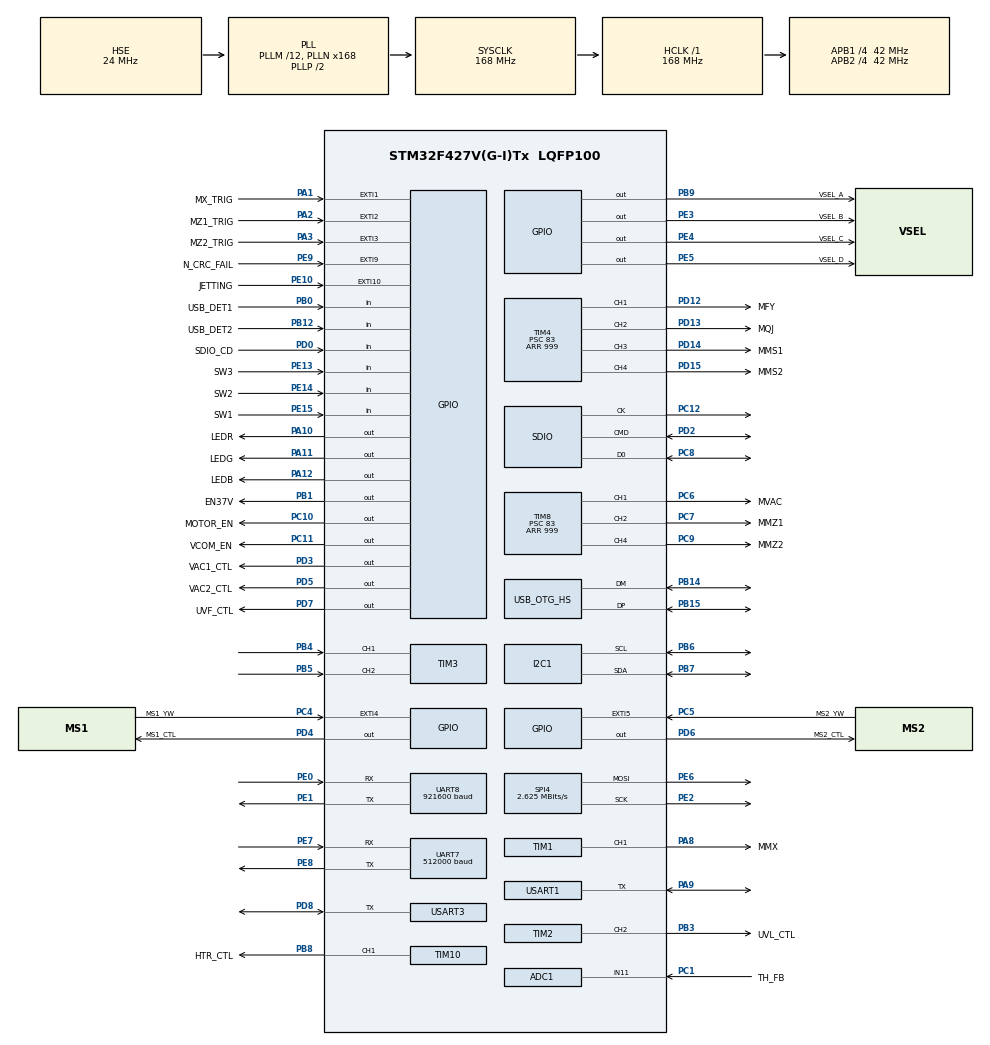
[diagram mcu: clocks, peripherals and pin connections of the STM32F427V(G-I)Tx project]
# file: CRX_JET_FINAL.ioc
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ADC1.Channel-7\#ChannelRegularConversion=ADC_CHANNEL_11
ADC1.ContinuousConvMode=DISABLE
ADC1.ExternalTrigConv=ADC_SOFTWARE_START
ADC1.NbrOfConversion=1
ADC1.NbrOfConversionFlag=1
ADC1.Rank-7\#ChannelRegularConversion=1
ADC1.SamplingTime-7\#ChannelRegularConversion=ADC_SAMPLETIME_84CYCLES
ADC1.master=1
Dma.Request0=SDIO_RX
Dma.Request1=SDIO_TX
Dma.Request2=UART7_TX
Dma.Request3=UART8_RX
Dma.Request4=UART8_TX
Dma.SDIO_RX.0.Direction=DMA_PERIPH_TO_MEMORY
Dma.SDIO_RX.0.FIFOMode=DMA_FIFOMODE_ENABLE
Dma.SDIO_RX.0.FIFOThreshold=DMA_FIFO_THRESHOLD_FULL
Dma.SDIO_RX.0.Instance=DMA2_Stream3
Dma.SDIO_RX.0.MemBurst=DMA_MBURST_INC4
Dma.SDIO_RX.0.MemDataAlignment=DMA_MDATAALIGN_WORD
Dma.SDIO_RX.0.MemInc=DMA_MINC_ENABLE
Dma.SDIO_RX.0.Mode=DMA_PFCTRL
Dma.SDIO_RX.0.PeriphBurst=DMA_PBURST_INC4
Dma.SDIO_RX.0.PeriphDataAlignment=DMA_PDATAALIGN_WORD
Dma.SDIO_RX.0.PeriphInc=DMA_PINC_DISABLE
Dma.SDIO_RX.0.Priority=DMA_PRIORITY_LOW
Dma.SDIO_TX.1.Direction=DMA_MEMORY_TO_PERIPH
Dma.SDIO_TX.1.FIFOMode=DMA_FIFOMODE_ENABLE
Dma.SDIO_TX.1.FIFOThreshold=DMA_FIFO_THRESHOLD_FULL
Dma.SDIO_TX.1.Instance=DMA2_Stream6
Dma.SDIO_TX.1.MemBurst=DMA_MBURST_INC4
Dma.SDIO_TX.1.MemDataAlignment=DMA_MDATAALIGN_WORD
Dma.SDIO_TX.1.MemInc=DMA_MINC_ENABLE
Dma.SDIO_TX.1.Mode=DMA_PFCTRL
Dma.SDIO_TX.1.PeriphBurst=DMA_PBURST_INC4
Dma.SDIO_TX.1.PeriphDataAlignment=DMA_PDATAALIGN_WORD
Dma.SDIO_TX.1.PeriphInc=DMA_PINC_DISABLE
Dma.SDIO_TX.1.Priority=DMA_PRIORITY_LOW
Dma.UART7_TX.2.Direction=DMA_MEMORY_TO_PERIPH
Dma.UART7_TX.2.FIFOMode=DMA_FIFOMODE_DISABLE
Dma.UART7_TX.2.Instance=DMA1_Stream1
Dma.UART7_TX.2.MemDataAlignment=DMA_MDATAALIGN_BYTE
Dma.UART7_TX.2.MemInc=DMA_MINC_ENABLE
Dma.UART7_TX.2.Mode=DMA_NORMAL
Dma.UART7_TX.2.PeriphDataAlignment=DMA_PDATAALIGN_BYTE
Dma.UART7_TX.2.PeriphInc=DMA_PINC_DISABLE
Dma.UART7_TX.2.Priority=DMA_PRIORITY_LOW
Dma.UART8_RX.3.Direction=DMA_PERIPH_TO_MEMORY
Dma.UART8_RX.3.FIFOMode=DMA_FIFOMODE_DISABLE
Dma.UART8_RX.3.Instance=DMA1_Stream6
Dma.UART8_RX.3.MemDataAlignment=DMA_MDATAALIGN_BYTE
Dma.UART8_RX.3.MemInc=DMA_MINC_ENABLE
Dma.UART8_RX.3.Mode=DMA_NORMAL
Dma.UART8_RX.3.PeriphDataAlignment=DMA_PDATAALIGN_BYTE
Dma.UART8_RX.3.PeriphInc=DMA_PINC_DISABLE
Dma.UART8_RX.3.Priority=DMA_PRIORITY_LOW
Dma.UART8_TX.4.Direction=DMA_MEMORY_TO_PERIPH
Dma.UART8_TX.4.FIFOMode=DMA_FIFOMODE_DISABLE
Dma.UART8_TX.4.Instance=DMA1_Stream0
Dma.UART8_TX.4.MemDataAlignment=DMA_MDATAALIGN_BYTE
Dma.UART8_TX.4.MemInc=DMA_MINC_ENABLE
Dma.UART8_TX.4.Mode=DMA_NORMAL
Dma.UART8_TX.4.PeriphDataAlignment=DMA_PDATAALIGN_BYTE
Dma.UART8_TX.4.PeriphInc=DMA_PINC_DISABLE
Dma.UART8_TX.4.Priority=DMA_PRIORITY_LOW
FATFS.BSP.number=1
FATFS._CODE_PAGE=936
FATFS._FS_EXFAT=1
FATFS._FS_NORTC=0
FATFS._USE_LFN=2
FATFS0.BSP.STBoard=false
FATFS0.BSP.api=Unknown
FATFS0.BSP.instance=PD0
FATFS0.BSP.ip=GPIO
FATFS0.BSP.mode=Input
FATFS0.BSP.name=Detect_SDIO
FATFS0.BSP.solution=PD0
FREERTOS.Mutexes01=MUart1Mutex,Dynamic,NULL,Available;MTim8Mutex,Dynamic,NULL,Available
FREERTOS.Tasks01=defaultTask,32,512,StartDefaultTask,Default,NULL,Dynamic,NULL,NULL;motorTask,24,128,StartMotorTask,As external,NULL,Dynamic,NULL,NULL;pumpTask,24,128,StartPumpTask,As external,NULL,Dynamic,NULL,NULL;vacTask,24,128,StartVacTask,As external,NULL,Dynamic,NULL,NULL;jettingTask,24,128,StartJettingTask,As external,NULL,Dynamic,NULL,NULL;headerTask,24,128,StartHeaderTask,As external,NULL,Dynamic,NULL,NULL;sensorTask,8,128,StartSensorTask,As external,NULL,Dynamic,NULL,NULL
I2C1.I2C_Mode=I2C_Standard
Mcu.Family=STM32F4
Mcu.Name=STM32F427V(G-I)Tx
Mcu.Package=LQFP100
Mcu.UserConstants=JETTING_FPGA_REPLY,16;ALL_EMG_STOP,1;JETTING_UART_CPLT,8;ALL_NEW_TASK,4;MAIN_TASK_CPLT,4
NVIC.ADC_IRQn=true\:5\:0\:false\:false\:true\:true\:true\:true\:true
NVIC.DMA1_Stream0_IRQn=true\:5\:0\:false\:false\:true\:true\:false\:true\:true
NVIC.DMA1_Stream1_IRQn=true\:5\:0\:false\:false\:true\:true\:false\:true\:true
NVIC.DMA1_Stream6_IRQn=true\:5\:0\:false\:false\:true\:true\:false\:true\:true
NVIC.DMA2_Stream3_IRQn=true\:5\:0\:false\:false\:true\:true\:false\:true\:true
NVIC.DMA2_Stream6_IRQn=true\:5\:0\:false\:false\:true\:true\:false\:true\:true
NVIC.EXTI15_10_IRQn=true\:5\:0\:false\:false\:true\:true\:true\:true\:true
NVIC.EXTI1_IRQn=true\:5\:0\:false\:false\:true\:true\:true\:true\:true
NVIC.EXTI2_IRQn=true\:5\:0\:false\:false\:true\:true\:true\:true\:true
NVIC.EXTI3_IRQn=true\:5\:0\:false\:false\:true\:true\:true\:true\:true
NVIC.EXTI4_IRQn=true\:5\:0\:false\:false\:true\:true\:true\:true\:true
NVIC.EXTI9_5_IRQn=true\:5\:0\:true\:false\:true\:true\:true\:true\:true
NVIC.OTG_HS_IRQn=true\:5\:0\:false\:false\:true\:true\:false\:true\:true
NVIC.PriorityGroup=NVIC_PRIORITYGROUP_4
NVIC.SDIO_IRQn=true\:5\:0\:false\:false\:true\:true\:true\:true\:true
NVIC.TIM1_UP_TIM10_IRQn=true\:5\:0\:false\:false\:true\:true\:true\:false\:true
NVIC.TIM4_IRQn=true\:5\:0\:false\:false\:true\:true\:true\:false\:true
NVIC.TIM7_IRQn=true\:15\:0\:false\:false\:true\:false\:false\:false\:true
NVIC.TIM8_UP_TIM13_IRQn=true\:5\:0\:false\:false\:true\:true\:true\:false\:true
NVIC.TimeBase=TIM7_IRQn
NVIC.TimeBaseIP=TIM7
NVIC.UART7_IRQn=true\:5\:0\:false\:false\:true\:true\:true\:true\:true
NVIC.UART8_IRQn=true\:5\:0\:false\:false\:true\:true\:true\:true\:true
PA1.GPIO_Label=MX_TRIG
PA1.GPIO_ModeDefaultEXTI=GPIO_MODE_IT_RISING
PA1.GPIO_PuPd=GPIO_NOPULL
PA1.Signal=GPXTI1
PA10.GPIO_Label=LEDR
PA10.GPIO_ModeDefaultOutputPP=GPIO_MODE_OUTPUT_OD
PA10.GPIO_PuPd=GPIO_PULLUP
PA10.PinState=GPIO_PIN_SET
PA10.Signal=GPIO_Output
PA11.GPIO_Label=LEDG
PA11.GPIO_ModeDefaultOutputPP=GPIO_MODE_OUTPUT_OD
PA11.GPIO_PuPd=GPIO_PULLUP
PA11.PinState=GPIO_PIN_SET
PA11.Signal=GPIO_Output
PA12.GPIO_Label=LEDB
PA12.GPIO_ModeDefaultOutputPP=GPIO_MODE_OUTPUT_OD
PA12.GPIO_PuPd=GPIO_PULLUP
PA12.PinState=GPIO_PIN_SET
PA12.Signal=GPIO_Output
PA13.Mode=Serial_Wire
PA13.Signal=SYS_JTMS-SWDIO
PA14.Mode=Serial_Wire
PA14.Signal=SYS_JTCK-SWCLK
PA2.GPIO_Label=MZ1_TRIG
PA2.GPIO_ModeDefaultEXTI=GPIO_MODE_IT_RISING
PA2.GPIO_PuPd=GPIO_NOPULL
PA2.Signal=GPXTI2
PA3.GPIO_Label=MZ2_TRIG
PA3.GPIO_ModeDefaultEXTI=GPIO_MODE_IT_RISING
PA3.GPIO_PuPd=GPIO_NOPULL
PA3.Signal=GPXTI3
PA8.GPIO_Label=MMX
PA8.Signal=S_TIM1_CH1
PA9.GPIO_ModeDefaultOD=GPIO_MODE_AF_PP
PA9.GPIO_PuPd=GPIO_PULLUP
PA9.Mode=Half_duplex(single_wire_mode)
PA9.Signal=USART1_TX
PB0.GPIO_Label=USB_DET1
PB0.Signal=GPIO_Input
PB1.GPIO_Label=EN37V
PB1.GPIO_PuPd=GPIO_PULLDOWN
PB1.Signal=GPIO_Output
PB12.GPIO_Label=USB_DET2
PB12.Signal=GPIO_Input
PB14.Mode=Device_Only_FS
PB14.Signal=USB_OTG_HS_DM
PB15.Mode=Device_Only_FS
PB15.Signal=USB_OTG_HS_DP
PB3.GPIO_Label=UVL_CTL
PB3.Signal=S_TIM2_CH2
PB4.Signal=S_TIM3_CH1
PB5.Signal=S_TIM3_CH2
PB6.Mode=I2C
PB6.Signal=I2C1_SCL
PB7.Mode=I2C
PB7.Signal=I2C1_SDA
PB8.GPIO_Label=HTR_CTL
PB8.Signal=S_TIM10_CH1
PB9.GPIO_Label=VSEL_A
PB9.GPIO_PuPd=GPIO_PULLUP
PB9.PinState=GPIO_PIN_SET
PB9.Signal=GPIO_Output
PC1.GPIO_Label=TH_FB
PC1.Signal=ADCx_IN11
PC10.GPIO_Label=MOTOR_EN
PC10.Signal=GPIO_Output
PC11.GPIO_Label=VCOM_EN
PC11.Signal=GPIO_Output
PC12.Mode=SD_1_bit
PC12.Signal=SDIO_CK
PC4.GPIO_Label=MS1_YW
PC4.GPIO_ModeDefaultEXTI=GPIO_MODE_IT_FALLING
PC4.GPIO_PuPd=GPIO_PULLDOWN
PC4.Signal=GPXTI4
PC5.GPIO_Label=MS2_YW
PC5.GPIO_ModeDefaultEXTI=GPIO_MODE_IT_FALLING
PC5.GPIO_PuPd=GPIO_PULLDOWN
PC5.Signal=GPXTI5
PC6.GPIO_Label=MVAC
PC6.Signal=S_TIM8_CH1
PC7.GPIO_Label=MMZ1
PC7.Signal=S_TIM8_CH2
PC8.Mode=SD_1_bit
PC8.Signal=SDIO_D0
PC9.GPIO_Label=MMZ2
PC9.Signal=S_TIM8_CH4
PD0.GPIO_Label=SDIO_CD
PD0.GPIO_PuPd=GPIO_PULLUP
PD0.Signal=GPIO_Input
PD12.GPIO_Label=MFY
PD12.Signal=S_TIM4_CH1
PD13.GPIO_Label=MQJ
PD13.Signal=S_TIM4_CH2
PD14.GPIO_Label=MMS1
PD14.Signal=S_TIM4_CH3
PD15.GPIO_Label=MMS2
PD15.Signal=S_TIM4_CH4
PD2.Mode=SD_1_bit
PD2.Signal=SDIO_CMD
PD3.GPIO_Label=VAC1_CTL
PD3.GPIO_PuPd=GPIO_PULLDOWN
PD3.Signal=GPIO_Output
PD4.GPIO_Label=MS1_CTL
PD4.GPIO_PuPd=GPIO_PULLDOWN
PD4.Signal=GPIO_Output
PD5.GPIO_Label=VAC2_CTL
PD5.GPIO_PuPd=GPIO_PULLDOWN
PD5.Signal=GPIO_Output
PD6.GPIO_Label=MS2_CTL
PD6.GPIO_PuPd=GPIO_PULLDOWN
PD6.Signal=GPIO_Output
PD7.GPIO_Label=UVF_CTL
PD7.GPIO_PuPd=GPIO_PULLDOWN
PD7.Signal=GPIO_Output
PD8.GPIO_ModeDefaultOD=GPIO_MODE_AF_PP
PD8.GPIO_PuPd=GPIO_PULLUP
PD8.Mode=Half_duplex(single_wire_mode)
PD8.Signal=USART3_TX
PE0.Mode=Asynchronous
PE0.Signal=UART8_RX
PE1.Mode=Asynchronous
PE1.Signal=UART8_TX
PE10.GPIO_Label=JETTING
PE10.GPIO_PuPd=GPIO_PULLDOWN
PE10.Signal=GPXTI10
PE13.GPIO_Label=SW3
PE13.GPIO_PuPd=GPIO_PULLUP
PE13.Signal=GPIO_Input
PE14.GPIO_Label=SW2
PE14.GPIO_PuPd=GPIO_PULLUP
PE14.Signal=GPIO_Input
PE15.GPIO_Label=SW1
PE15.GPIO_PuPd=GPIO_PULLUP
PE15.Signal=GPIO_Input
PE2.Mode=TX_Only_Simplex_Unidirect_Master
PE2.Signal=SPI4_SCK
PE3.GPIO_Label=VSEL_B
PE3.GPIO_PuPd=GPIO_PULLUP
PE3.PinState=GPIO_PIN_SET
PE3.Signal=GPIO_Output
PE4.GPIO_Label=VSEL_C
PE4.GPIO_PuPd=GPIO_PULLUP
PE4.PinState=GPIO_PIN_SET
PE4.Signal=GPIO_Output
PE5.GPIO_Label=VSEL_D
PE5.GPIO_PuPd=GPIO_PULLUP
PE5.PinState=GPIO_PIN_SET
PE5.Signal=GPIO_Output
PE6.Mode=TX_Only_Simplex_Unidirect_Master
PE6.Signal=SPI4_MOSI
PE7.Mode=Asynchronous
PE7.Signal=UART7_RX
PE8.Mode=Asynchronous
PE8.Signal=UART7_TX
PE9.GPIO_Label=N_CRC_FAIL
PE9.GPIO_ModeDefaultEXTI=GPIO_MODE_IT_FALLING
PE9.GPIO_PuPd=GPIO_PULLDOWN
PE9.Signal=GPXTI9
PH0/OSC_IN.Mode=HSE-External-Clock-Source
PH0/OSC_IN.Signal=RCC_OSC_IN
PH1/OSC_OUT.Mode=HSE-External-Clock-Source
PH1/OSC_OUT.Signal=RCC_OSC_OUT
ProjectManager.HeapSize=0x200
ProjectManager.StackSize=0x400
ProjectManager.TargetToolchain=MDK-ARM V5.32
RCC.48MHZClocksFreq_Value=48000000
RCC.AHBFreq_Value=168000000
RCC.APB1CLKDivider=RCC_HCLK_DIV4
RCC.APB1Freq_Value=42000000
RCC.APB1TimFreq_Value=84000000
RCC.APB2CLKDivider=RCC_HCLK_DIV4
RCC.APB2Freq_Value=42000000
RCC.APB2TimFreq_Value=84000000
RCC.CortexFreq_Value=168000000
RCC.HCLKFreq_Value=168000000
RCC.HSE_VALUE=24000000
RCC.HSI_VALUE=16000000
RCC.LSE_VALUE=32768
RCC.PLLM=12
RCC.PLLN=168
RCC.PLLQ=7
RCC.SYSCLKFreq_VALUE=168000000
RCC.SYSCLKSource=RCC_SYSCLKSOURCE_PLLCLK
RCC.VCOOutputFreq_Value=336000000
SDIO.HardwareFlowControl=SDIO_HARDWARE_FLOW_CONTROL_DISABLE
SH.ADCx_IN11.0=ADC1_IN11,IN11
SH.S_TIM10_CH1.0=TIM10_CH1,PWM Generation1 CH1
SH.S_TIM1_CH1.0=TIM1_CH1,PWM Generation1 CH1
SH.S_TIM2_CH2.0=TIM2_CH2,PWM Generation2 CH2
SH.S_TIM3_CH1.0=TIM3_CH1,Encoder_Interface
SH.S_TIM3_CH2.0=TIM3_CH2,Encoder_Interface
SH.S_TIM4_CH1.0=TIM4_CH1,PWM Generation1 CH1
SH.S_TIM4_CH2.0=TIM4_CH2,PWM Generation2 CH2
SH.S_TIM4_CH3.0=TIM4_CH3,PWM Generation3 CH3
SH.S_TIM4_CH4.0=TIM4_CH4,PWM Generation4 CH4
SH.S_TIM8_CH1.0=TIM8_CH1,PWM Generation1 CH1
SH.S_TIM8_CH2.0=TIM8_CH2,PWM Generation2 CH2
SH.S_TIM8_CH4.0=TIM8_CH4,PWM Generation4 CH4
SPI4.BaudRatePrescaler=SPI_BAUDRATEPRESCALER_16
SPI4.CalculateBaudRate=2.625 MBits/s
SPI4.Direction=SPI_DIRECTION_2LINES
SPI4.Mode=SPI_MODE_MASTER
SPI4.VirtualType=VM_MASTER
TIM1.AutoReloadPreload=TIM_AUTORELOAD_PRELOAD_ENABLE
TIM1.Channel-PWM\ Generation1\ CH1=TIM_CHANNEL_1
TIM1.OC1Preload_PWM=DISABLE
TIM1.Period=999
TIM1.Prescaler=83
TIM10.Channel=TIM_CHANNEL_1
TIM10.Period=999
TIM10.Prescaler=83
TIM2.AutoReloadPreload=TIM_AUTORELOAD_PRELOAD_ENABLE
TIM2.Channel-PWM\ Generation2\ CH2=TIM_CHANNEL_2
TIM2.Period=999
TIM2.Prescaler=83
TIM2.TIM_MasterOutputTrigger=TIM_TRGO_UPDATE
TIM2.TIM_MasterSlaveMode=TIM_MASTERSLAVEMODE_DISABLE
TIM3.EncoderMode=TIM_ENCODERMODE_TI12
TIM4.AutoReloadPreload=TIM_AUTORELOAD_PRELOAD_ENABLE
TIM4.Channel-PWM\ Generation1\ CH1=TIM_CHANNEL_1
TIM4.Channel-PWM\ Generation2\ CH2=TIM_CHANNEL_2
TIM4.Channel-PWM\ Generation3\ CH3=TIM_CHANNEL_3
TIM4.Channel-PWM\ Generation4\ CH4=TIM_CHANNEL_4
TIM4.OC1Preload_PWM=DISABLE
TIM4.OC2Preload_PWM=DISABLE
TIM4.OC3Preload_PWM=DISABLE
TIM4.OC4Preload_PWM=DISABLE
TIM4.Period=999
TIM4.Prescaler=83
TIM8.Channel-PWM\ Generation1\ CH1=TIM_CHANNEL_1
TIM8.Channel-PWM\ Generation2\ CH2=TIM_CHANNEL_2
TIM8.Channel-PWM\ Generation4\ CH4=TIM_CHANNEL_4
TIM8.OC1Preload_PWM=DISABLE
TIM8.OC2Preload_PWM=DISABLE
TIM8.OC4Preload_PWM=DISABLE
TIM8.Period=999
TIM8.Prescaler=83
UART7.BaudRate=512000
UART7.Mode=MODE_TX
UART7.VirtualMode=Asynchronous
UART8.BaudRate=921600
UART8.VirtualMode=Asynchronous
USART1.VirtualMode=VM_ASYNC
USART3.VirtualMode=VM_ASYNC
USB_DEVICE.CLASS_NAME_HS=CDC
USB_DEVICE.VirtualMode-CDC_HS=Cdc
USB_DEVICE.VirtualModeHS=Cdc_HS
USB_OTG_HS.VirtualMode-Device_Only_FS=Device_Only_FS
VP_FATFS_VS_SDIO.Mode=SDIO
VP_FREERTOS_VS_CMSIS_V2.Mode=CMSIS_V2
VP_SYS_VS_tim7.Mode=TIM7
VP_TIM10_VS_ClockSourceINT.Mode=Enable_Timer
VP_USB_DEVICE_VS_USB_DEVICE_CDC_HS.Mode=CDC_HS
board=custom

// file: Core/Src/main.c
/* USER CODE BEGIN Header */
/**
  ******************************************************************************
  * @file           : main.c
  * @brief          : Main program body
  ******************************************************************************
  * @attention
  *
  * Copyright (c) 2025 STMicroelectronics.
  * All rights reserved.
  *
  * This software is licensed under terms that can be found in the LICENSE file
  * in the root directory of this software component.
  * If no LICENSE file comes with this software, it is provided AS-IS.
  *
  ******************************************************************************
  */
/* USER CODE END Header */
#include "main.h"
#include "cmsis_os.h"
#include "adc.h"
#include "dma.h"
#include "fatfs.h"
#include "i2c.h"
#include "sdio.h"
#include "spi.h"
#include "tim.h"
#include "usart.h"
#include "usb_device.h"
#include "gpio.h"

/* USER CODE BEGIN Includes */
#include "Comm.h"
#include "pressure.h"
/* USER CODE END Includes */

/* USER CODE BEGIN PV */
uint8_t VoltageR = 150;
/* USER CODE END PV */

void SystemClock_Config(void);
void MX_FREERTOS_Init(void);

int main(void)
{

  /* MCU Configuration--------------------------------------------------------*/

  /* Reset of all peripherals, Initializes the Flash interface and the Systick. */
  HAL_Init();

  /* Configure the system clock */
  SystemClock_Config();

  /* Initialize all configured peripherals */
  MX_GPIO_Init();
  MX_DMA_Init();
  MX_ADC1_Init();
  MX_I2C1_Init();
  MX_TIM1_Init();
  MX_TIM3_Init();
  MX_TIM4_Init();
  MX_TIM8_Init();
  MX_UART7_Init();
  MX_USART1_UART_Init();
  MX_USART3_UART_Init();
  MX_SDIO_SD_Init();
  MX_SPI4_Init();
  MX_TIM2_Init();
  MX_FATFS_Init();
  MX_UART8_Init();
  MX_TIM10_Init();
  /* USER CODE BEGIN 2 */
	HAL_TIM_Base_Start_IT(&htim1);
	HAL_TIM_Base_Start_IT(&htim4);
	HAL_TIM_Base_Start_IT(&htim8);
	HAL_TIM_Encoder_Start(&htim3, TIM_CHANNEL_1|TIM_CHANNEL_2);
	Pressure_Init(&hi2c1);
	Comm_Init_Queue();

  HAL_GPIO_WritePin(VSEL_A_GPIO_Port, VSEL_A_Pin, 0);
	HAL_GPIO_WritePin(VSEL_B_GPIO_Port, VSEL_B_Pin, 0);
	HAL_GPIO_WritePin(VSEL_C_GPIO_Port, VSEL_C_Pin, 0);
	HAL_GPIO_WritePin(VSEL_D_GPIO_Port, VSEL_D_Pin, 0);
	HAL_SPI_Transmit(&hspi4, &VoltageR, 1, 10);
	HAL_GPIO_WritePin(VSEL_A_GPIO_Port, VSEL_A_Pin, 1);
	HAL_GPIO_WritePin(VSEL_B_GPIO_Port, VSEL_B_Pin, 1);
	HAL_GPIO_WritePin(VSEL_C_GPIO_Port, VSEL_C_Pin, 1);
	HAL_GPIO_WritePin(VSEL_D_GPIO_Port, VSEL_D_Pin, 1);

	HAL_GPIO_WritePin(LEDR_GPIO_Port, LEDR_Pin, 1);
	HAL_GPIO_WritePin(LEDG_GPIO_Port, LEDG_Pin, 1);
	HAL_GPIO_WritePin(LEDB_GPIO_Port, LEDB_Pin, 1);

  /* USER CODE END 2 */

  /* Init scheduler */
  osKernelInitialize();

  /* Call init function for freertos objects (in cmsis_os2.c) */
  MX_FREERTOS_Init();

  /* Start scheduler */
  osKernelStart();

  /* We should never get here as control is now taken by the scheduler */

  /* Infinite loop */
  while (1)
  {

  }
}

void SystemClock_Config(void)
{
  RCC_OscInitTypeDef RCC_OscInitStruct = {0};
  RCC_ClkInitTypeDef RCC_ClkInitStruct = {0};

  /** Configure the main internal regulator output voltage
  */
  __HAL_RCC_PWR_CLK_ENABLE();
  __HAL_PWR_VOLTAGESCALING_CONFIG(PWR_REGULATOR_VOLTAGE_SCALE1);

  /** Initializes the RCC Oscillators according to the specified parameters
  * in the RCC_OscInitTypeDef structure.
  */
  RCC_OscInitStruct.OscillatorType = RCC_OSCILLATORTYPE_HSE;
  RCC_OscInitStruct.HSEState = RCC_HSE_BYPASS;
  RCC_OscInitStruct.PLL.PLLState = RCC_PLL_ON;
  RCC_OscInitStruct.PLL.PLLSource = RCC_PLLSOURCE_HSE;
  RCC_OscInitStruct.PLL.PLLM = 12;
  RCC_OscInitStruct.PLL.PLLN = 168;
  RCC_OscInitStruct.PLL.PLLP = RCC_PLLP_DIV2;
  RCC_OscInitStruct.PLL.PLLQ = 7;
  if (HAL_RCC_OscConfig(&RCC_OscInitStruct) != HAL_OK)
  {
    Error_Handler();
  }

  /** Initializes the CPU, AHB and APB buses clocks
  */
  RCC_ClkInitStruct.ClockType = RCC_CLOCKTYPE_HCLK|RCC_CLOCKTYPE_SYSCLK
                              |RCC_CLOCKTYPE_PCLK1|RCC_CLOCKTYPE_PCLK2;
  RCC_ClkInitStruct.SYSCLKSource = RCC_SYSCLKSOURCE_PLLCLK;
  RCC_ClkInitStruct.AHBCLKDivider = RCC_SYSCLK_DIV1;
  RCC_ClkInitStruct.APB1CLKDivider = RCC_HCLK_DIV4;
  RCC_ClkInitStruct.APB2CLKDivider = RCC_HCLK_DIV4;

  if (HAL_RCC_ClockConfig(&RCC_ClkInitStruct, FLASH_LATENCY_5) != HAL_OK)
  {
    Error_Handler();
  }
}

void HAL_TIM_PeriodElapsedCallback(TIM_HandleTypeDef *htim)
{
  if (htim->Instance == TIM7)
  {
    HAL_IncTick();
  }
}

void Error_Handler(void)
{
  __disable_irq();
  while (1)
  {
  }
}

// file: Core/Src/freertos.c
/* USER CODE BEGIN Header */
/**
  ******************************************************************************
  * File Name          : freertos.c
  * Description        : Code for freertos applications
  ******************************************************************************
  * @attention
  *
  * Copyright (c) 2025 STMicroelectronics.
  * All rights reserved.
  *
  * This software is licensed under terms that can be found in the LICENSE file
  * in the root directory of this software component.
  * If no LICENSE file comes with this software, it is provided AS-IS.
  *
  ******************************************************************************
  */
/* USER CODE END Header */

#include "FreeRTOS.h"
#include "task.h"
#include "main.h"
#include "cmsis_os.h"

/* USER CODE BEGIN Includes */
#include "Comm.h"
#include "Motor.h"
#include "Header.h"
#include "Jetting.h"
#include "Pump.h"
#include "Vac.h"
#include "Init.h"
#include "Clean.h"
#include "Print.h"
#include "TMC2209.h"
/* USER CODE END Includes */

/* Definitions for defaultTask */
osThreadId_t defaultTaskHandle;
const osThreadAttr_t defaultTask_attributes = {
  .name = "defaultTask",
  .stack_size = 512 * 4,
  .priority = (osPriority_t) osPriorityAboveNormal,
};
/* Definitions for motorTask */
osThreadId_t motorTaskHandle;
const osThreadAttr_t motorTask_attributes = {
  .name = "motorTask",
  .stack_size = 128 * 4,
  .priority = (osPriority_t) osPriorityNormal,
};
/* Definitions for pumpTask */
osThreadId_t pumpTaskHandle;
const osThreadAttr_t pumpTask_attributes = {
  .name = "pumpTask",
  .stack_size = 128 * 4,
  .priority = (osPriority_t) osPriorityNormal,
};
/* Definitions for vacTask */
osThreadId_t vacTaskHandle;
const osThreadAttr_t vacTask_attributes = {
  .name = "vacTask",
  .stack_size = 128 * 4,
  .priority = (osPriority_t) osPriorityNormal,
};
/* Definitions for jettingTask */
osThreadId_t jettingTaskHandle;
const osThreadAttr_t jettingTask_attributes = {
  .name = "jettingTask",
  .stack_size = 128 * 4,
  .priority = (osPriority_t) osPriorityNormal,
};
/* Definitions for headerTask */
osThreadId_t headerTaskHandle;
const osThreadAttr_t headerTask_attributes = {
  .name = "headerTask",
  .stack_size = 128 * 4,
  .priority = (osPriority_t) osPriorityNormal,
};
/* Definitions for sensorTask */
osThreadId_t sensorTaskHandle;
const osThreadAttr_t sensorTask_attributes = {
  .name = "sensorTask",
  .stack_size = 128 * 4,
  .priority = (osPriority_t) osPriorityLow,
};
/* Definitions for MUart1Mutex */
osMutexId_t MUart1MutexHandle;
const osMutexAttr_t MUart1Mutex_attributes = {
  .name = "MUart1Mutex"
};
/* Definitions for MTim8Mutex */
osMutexId_t MTim8MutexHandle;
const osMutexAttr_t MTim8Mutex_attributes = {
  .name = "MTim8Mutex"
};

void StartDefaultTask(void *argument);
extern void StartMotorTask(void *argument);
extern void StartPumpTask(void *argument);
extern void StartVacTask(void *argument);
extern void StartJettingTask(void *argument);
extern void StartHeaderTask(void *argument);
extern void StartSensorTask(void *argument);

extern void MX_USB_DEVICE_Init(void);
void MX_FREERTOS_Init(void); /* (MISRA C 2004 rule 8.1) */

void MX_FREERTOS_Init(void) {
  /* Create the mutex(es) */
  /* creation of MUart1Mutex */
  MUart1MutexHandle = osMutexNew(&MUart1Mutex_attributes);

  /* creation of MTim8Mutex */
  MTim8MutexHandle = osMutexNew(&MTim8Mutex_attributes);

  /* Create the thread(s) */
  /* creation of defaultTask */
  defaultTaskHandle = osThreadNew(StartDefaultTask, NULL, &defaultTask_attributes);

  /* creation of motorTask */
  motorTaskHandle = osThreadNew(StartMotorTask, NULL, &motorTask_attributes);

  /* creation of pumpTask */
  pumpTaskHandle = osThreadNew(StartPumpTask, NULL, &pumpTask_attributes);

  /* creation of vacTask */
  vacTaskHandle = osThreadNew(StartVacTask, NULL, &vacTask_attributes);

  /* creation of jettingTask */
  jettingTaskHandle = osThreadNew(StartJettingTask, NULL, &jettingTask_attributes);

  /* creation of headerTask */
  headerTaskHandle = osThreadNew(StartHeaderTask, NULL, &headerTask_attributes);

  /* creation of sensorTask */
  sensorTaskHandle = osThreadNew(StartSensorTask, NULL, &sensorTask_attributes);

}

void StartDefaultTask(void *argument)
{
  /* init code for USB_DEVICE */
  MX_USB_DEVICE_Init();
  /* USER CODE BEGIN StartDefaultTask */
	uint32_t flag;
	/* Global Init */

	triggerHandler.MX  = TMC_MX;
	triggerHandler.MZ1 = TMC_MZ1;
	triggerHandler.MZ2 = TMC_MZ2;
	InitTask();
	HAL_GPIO_WritePin(LEDG_GPIO_Port, LEDG_Pin, 1);
  /* Infinite loop */
  for(;;)
  {
		// Wait For CDC Command
    	flag = osThreadFlagsWait(ALL_NEW_TASK|ALL_EMG_STOP, osFlagsWaitAny, 20);
		// Emergemcy Stop Handling
		if (currentState == GlobalStateEStop || currentState == GlobalStateError) {
			HAL_GPIO_WritePin(LEDG_GPIO_Port, LEDR_Pin, 0);
		} else {
			HAL_GPIO_WritePin(LEDG_GPIO_Port, LEDR_Pin, 1);
		}
		currentIntCommandPtr = Comm_Fetch_Queue();
		if (currentIntCommandPtr == 0)
		{
			HAL_GPIO_WritePin(LEDG_GPIO_Port, LEDB_Pin, 0);
			continue;
    } else {
			HAL_GPIO_WritePin(LEDG_GPIO_Port, LEDB_Pin, 1);
			if ((currentState == GlobalStateEStop || currentState == GlobalStateError) && currentIntCommandPtr->code < M150) {
				usb_printf("[Comm][Error] Emergency Stop or Error State, Command Ignored");
				continue;
			}
		}
		if (currentIntCommandPtr->code >= 0 && currentIntCommandPtr->code <= 3)
		{
			// Dispatch To Pump Thread
			osThreadFlagsSet(pumpTaskHandle, ALL_NEW_TASK);
		} else if (currentIntCommandPtr->code >= 4 && currentIntCommandPtr->code <= 6)
		{
			// Dispatch To Motor Thread
			osThreadFlagsSet(vacTaskHandle, ALL_NEW_TASK);
		} else if (currentIntCommandPtr->code >= 7 && currentIntCommandPtr->code <= 8)
		{
			// Dispatch To Pump Thread
			osThreadFlagsSet(pumpTaskHandle, ALL_NEW_TASK);
		} else if (currentIntCommandPtr->code >=10 && currentIntCommandPtr->code <=19)
		{
			// Dispatch To Motor Thread
			osThreadFlagsSet(motorTaskHandle, ALL_NEW_TASK);
		} else if (currentIntCommandPtr->code >=20 && currentIntCommandPtr->code <=29)
		{
			// Dispatch To Header Thread
			osThreadFlagsSet(headerTaskHandle, ALL_NEW_TASK);
		} else if (currentIntCommandPtr->code >=30 && currentIntCommandPtr->code <=49)
		{
			// Dispatch To Pump Thread
			osThreadFlagsSet(pumpTaskHandle, ALL_NEW_TASK);
		} else if (currentIntCommandPtr->code >=50 && currentIntCommandPtr->code <=70)
		{
			// Query
			switch(currentIntCommandPtr->code)
			{
				case M150: {
					usb_printf("%d\n", globalInfo.trigger_state.bits.MX);
					break;
				}
				case M151: {
					usb_printf("%d\n", globalInfo.trigger_state.bits.MZ1);
					break;
				}
				case M152: {
					usb_printf("%d\n", globalInfo.trigger_state.bits.MZ2);
					break;
				}
				case M160: {
					usb_printf("%d\n", globalInfo.trigger_state.bits.YW1);
					break;
				}
				case M161: {
					usb_printf("%d\n", globalInfo.trigger_state.bits.YW2);
					break;
				}
				case M162: {
					usb_printf("%d\n", globalInfo.vac_pressure);
					break;
				}
				case M163: {
					usb_printf("%d\n", (int)(globalInfo.x_encoder_pos * 10));
					break;
				}
				case M164: {
					usb_printf("%d\n", globalInfo.temperature);
					break;
				}
				case M165: {
					usb_printf("%d\n", globalInfo.trigger_state.bits.SW1);
					break;
				}
				case M166: {
					usb_printf("%d\n", globalInfo.trigger_state.bits.SW2);
					break;
				}
				case M167: {
					usb_printf("%d\n", globalInfo.trigger_state.bits.SW3);
					break;
				}
				case M168: {
					usb_printf("TBD\n");
					break;
				}
				case M169: {
					usb_printf("TBD\n");
					break;
				}
				case M170: {
					usb_printf("%d\n", (int)currentState);
					break;
				}
				default:
					usb_printf("ERROR\n");
			}
			osThreadFlagsSet(defaultTaskHandle, MAIN_TASK_CPLT);
		} else if (currentIntCommandPtr->code == M171)
		{
			//
			switch(currentIntCommandPtr->param1) {
				case GlobalStateInit: {
					if (currentState != GlobalStatePrint && currentState != GlobalStateClean) {
						usb_printf("OK\n");
						InitTask();
					} else {
						usb_printf("ERROR\n");
					}
					break;
				}
				case GlobalStatePOff: {
					if (currentState == GlobalStateIdle) {
						usb_printf("OK\n");
						// TODO
					} else {
						usb_printf("ERROR\n");
					}
					break;
				}
				case GlobalStateClean: {
					if (currentState == GlobalStateIdle) {
						usb_printf("OK\n");
						CleanTask(currentIntCommandPtr->param2);
					} else {
						usb_printf("ERROR\n");
					}
					break;
				}
				case GlobalStateEStop: {
					usb_printf("OK\n");
					break;
				}
				default:
					usb_printf("ERROR\n");
			}
			osThreadFlagsSet(defaultTaskHandle, MAIN_TASK_CPLT);
		} else if (currentIntCommandPtr->code == M172) {
			if (currentState == GlobalStateIdle) {
				usb_printf("OK\n");
				PrintTaskPrepare();
				PrintTask();
			} else if (currentState == GlobalStatePause) {
				usb_printf("OK\n");
				PrintTask();
			} else {
				usb_printf("ERROR\n");
			}
			osThreadFlagsSet(defaultTaskHandle, MAIN_TASK_CPLT);
		} else if (currentIntCommandPtr->code == M180) {
			ReadFileList();
			osThreadFlagsSet(defaultTaskHandle, MAIN_TASK_CPLT);
		}
		osThreadFlagsWait(MAIN_TASK_CPLT|ALL_EMG_STOP, osFlagsWaitAny, osWaitForever);
  }
  /* USER CODE END StartDefaultTask */
}
